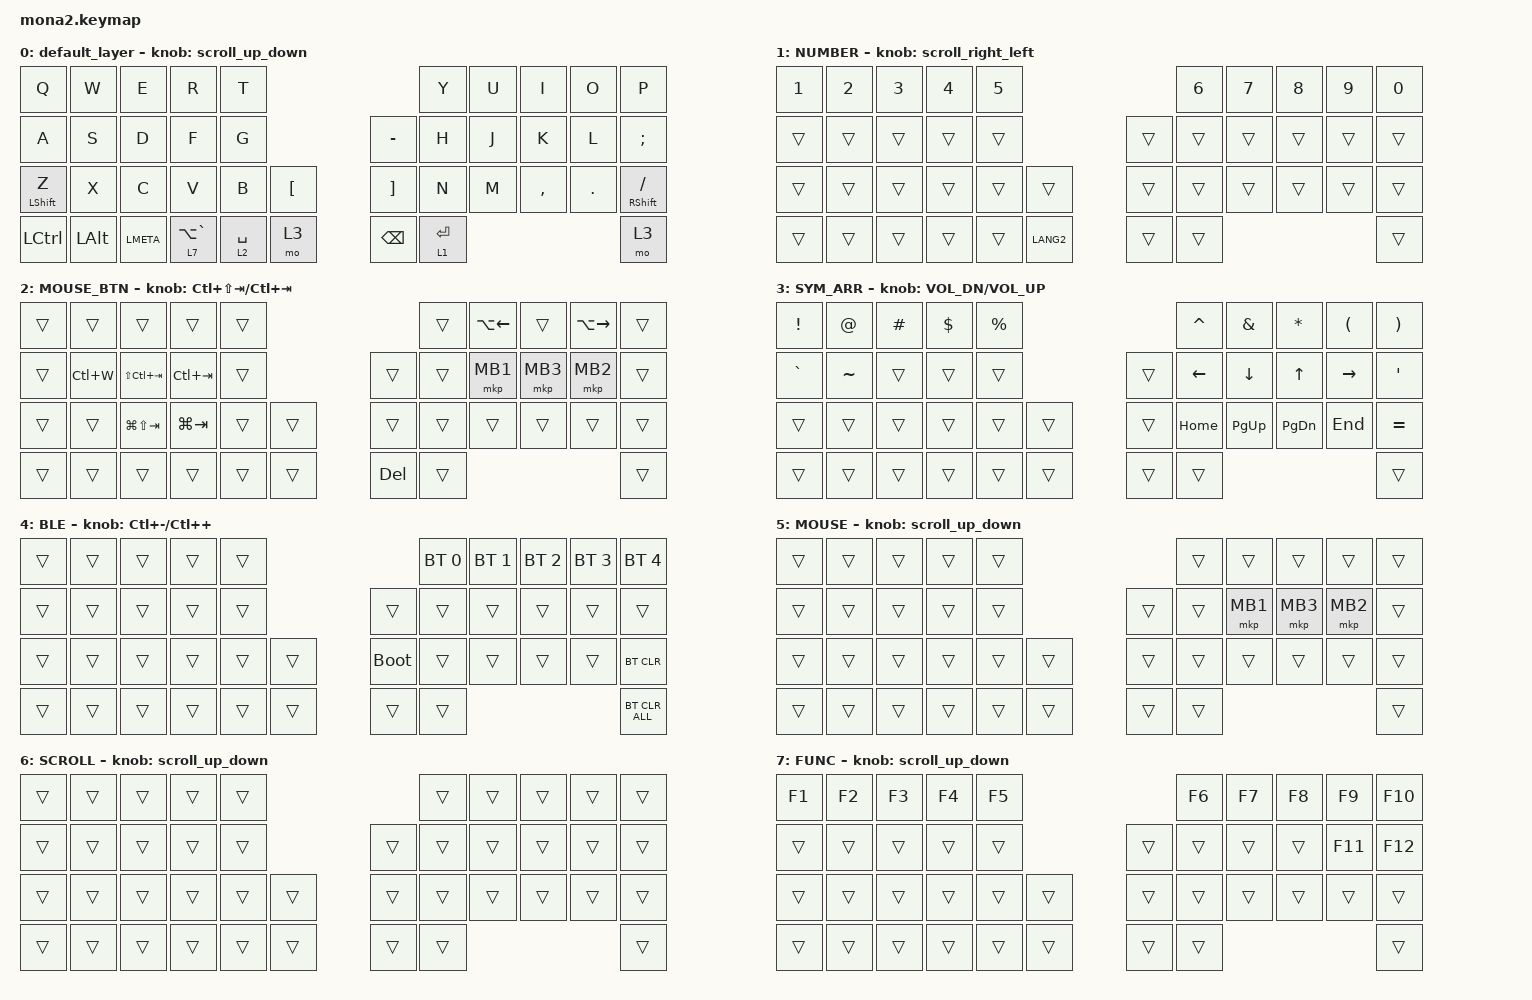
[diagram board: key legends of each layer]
#include <input/processors.dtsi>
#include <dt-bindings/zmk/input_transform.h>
#include <zephyr/dt-bindings/input/input-event-codes.h>
#include <behaviors.dtsi>
#include <dt-bindings/zmk/bt.h>
#include <dt-bindings/zmk/keys.h>
#include <dt-bindings/zmk/pointing.h>

#define ZMK_POINTING_DEFAULT_SCRL_VAL 100
#define MOUSE 5
#define SCROLL 6

&mt {
    flavor = "balanced";
    quick-tap-ms = <0>;
};

&lt {
    quick-tap-ms = <300>;
    flavor = "balanced";
};

&mkp_input_listener { input-processors = <&zip_temp_layer 5 200>; };

/ {
    combos {
        compatible = "zmk,combos";

        BLElayer_ESC {
            bindings = <&lt 4 ESC>;
            key-positions = <39 38>;
        };

        tab {
            bindings = <&kp TAB>;
            key-positions = <11 12>;
        };

        minus {
            bindings = <&kp MINUS>;
            key-positions = <8 9>;
        };

        back_slash {
            bindings = <&kp BACKSLASH>;
            key-positions = <20 19>;
        };

        // grave {
        //     bindings = <&kp GRAVE>;
        //     key-positions = <11 10>;
        // };
    };

    macros {
        to_layer_0: to_layer_0 {
            compatible = "zmk,behavior-macro-one-param";
            #binding-cells = <1>;
            bindings = <&to 0 &macro_param_1to1 &kp MACRO_PLACEHOLDER>;
            label = "TO_LAYER_0";
        };

        exit_AML: exit_AML {
            compatible = "zmk,behavior-macro";
            wait-ms = <0>;
            tap-ms = <0>;
            #binding-cells = <0>;
            bindings = <&tog_off MOUSE>;
            label = "exit_AML";
        };

        kp_exit_AML: kp_exit_AML {
            compatible = "zmk,behavior-macro-one-param";
            wait-ms = <0>;
            tap-ms = <0>;
            #binding-cells = <1>;
            bindings = <&macro_param_1to1 &kp MACRO_PLACEHOLDER &exit_AML>;
            label = "KP_exit_AML";
        };
    };

    behaviors {
        lt_to_layer_0: lt_to_layer_0 {
            compatible = "zmk,behavior-hold-tap";
            label = "LAYER_TAP_TO_0";
            bindings = <&mo>, <&to_layer_0>;

            #binding-cells = <2>;
            tapping-term-ms = <200>;
        };

        scroll_up_down: mouse_wheel_up_down {
            compatible = "zmk,behavior-sensor-rotate";
            #sensor-binding-cells = <0>;
            bindings = <&msc SCRL_DOWN>, <&msc SCRL_UP>;

            tap-ms = <20>;
        };

        scroll_right_left: mouse_wheel_right_left {
            compatible = "zmk,behavior-sensor-rotate";
            #sensor-binding-cells = <0>;
            bindings = <&msc SCRL_LEFT>, <&msc SCRL_RIGHT>;

            tap-ms = <20>;
        };

        tog_off: toggle_layer_off {
            compatible = "zmk,behavior-toggle-layer";
            #binding-cells = <1>;
            display-name = "Toggle Layer Off";
            toggle-mode = "off";
        };

        mt_exit_AML_on_tap: mt_exit_AML_on_tap {
            compatible = "zmk,behavior-hold-tap";
            label = "MT_exit_AML_ON_TAP";
            bindings = <&kp>, <&kp_exit_AML>;

            #binding-cells = <2>;
            tapping-term-ms = <200>;
            flavor = "balanced";
            quick-tap-ms = <200>;
        };
    };

    keymap {
        compatible = "zmk,keymap";

        default_layer {
            bindings = <
&kp Q                             &kp W     &kp E      &kp R                       &kp T                                   &kp Y        &kp U  &kp I      &kp O    &kp P
&kp A                             &kp S     &kp D      &kp F                       &kp G                    &kp MINUS      &kp H        &kp J  &kp K      &kp L    &kp SEMICOLON
&mt_exit_AML_on_tap LEFT_SHIFT Z  &kp X     &kp C      &kp V                       &kp B        &kp LBKT    &kp RBKT       &kp N        &kp M  &kp COMMA  &kp DOT  &mt_exit_AML_on_tap RIGHT_SHIFT SLASH
&kp LCTRL                         &kp LALT  &kp LMETA  &lt_to_layer_0 7 LA(GRAVE)  &lt 2 SPACE  &mo 3       &kp BACKSPACE  &lt 1 ENTER                             &mo 3
            >;

            sensor-bindings = <&scroll_up_down>;
        };

        NUMBER {
            bindings = <
&kp NUMBER_1  &kp NUMBER_2  &kp NUMBER_3  &kp NUMBER_4  &kp NUMBER_5                       &kp NUMBER_6  &kp NUMBER_7  &kp NUMBER_8  &kp NUMBER_9  &kp NUMBER_0
&trans        &trans        &trans        &trans        &trans                     &trans  &trans        &trans        &trans        &trans        &trans
&trans        &trans        &trans        &trans        &trans        &trans       &trans  &trans        &trans        &trans        &trans        &trans
&trans        &trans        &trans        &trans        &trans        &kp LANG2    &trans  &trans                                                  &trans
            >;

            sensor-bindings = <&scroll_right_left>;
        };

        MOUSE_BTN {
            bindings = <
&trans  &trans     &trans           &trans       &trans                     &trans  &kp LA(LEFT_ARROW)  &trans    &kp LA(RIGHT)  &trans
&trans  &kp LC(W)  &kp LS(LC(TAB))  &kp LC(TAB)  &trans            &trans   &trans  &mkp MB1            &mkp MB3  &mkp MB2       &trans
&trans  &trans     &kp LG(LS(TAB))  &kp LG(TAB)  &trans  &trans    &trans   &trans  &trans              &trans    &trans         &trans
&trans  &trans     &trans           &trans       &trans  &trans    &kp DEL  &trans                                               &trans
            >;

            sensor-bindings = <&inc_dec_kp LC(LS(TAB)) LC(TAB)>;
        };

        SYM_ARR {
            bindings = <
&kp EXCL   &kp AT     &kp HASH  &kp DOLLAR  &kp PERCENT                    &kp CARET  &kp AMPERSAND  &kp ASTERISK  &kp LPAR         &kp RPAR
&kp GRAVE  &kp TILDE  &trans    &trans      &trans                 &trans  &kp LEFT   &kp DOWN       &kp UP        &kp RIGHT_ARROW  &kp SINGLE_QUOTE
&trans     &trans     &trans    &trans      &trans       &trans    &trans  &kp HOME   &kp PG_UP      &kp PG_DN     &kp END          &kp EQUAL
&trans     &trans     &trans    &trans      &trans       &trans    &trans  &trans                                                   &trans
            >;

            sensor-bindings = <&inc_dec_kp C_VOL_DN C_VOL_UP>;
        };

        BLE {
            bindings = <
&trans  &trans  &trans  &trans  &trans                         &bt BT_SEL 0  &bt BT_SEL 1  &bt BT_SEL 2  &bt BT_SEL 3  &bt BT_SEL 4
&trans  &trans  &trans  &trans  &trans            &trans       &trans        &trans        &trans        &trans        &trans
&trans  &trans  &trans  &trans  &trans  &trans    &bootloader  &trans        &trans        &trans        &trans        &bt BT_CLR
&trans  &trans  &trans  &trans  &trans  &trans    &trans       &trans                                                  &bt BT_CLR_ALL
            >;

            sensor-bindings = <&inc_dec_kp LC(MINUS) LC(PLUS)>;
        };

        MOUSE {
            bindings = <
&trans  &trans  &trans  &trans  &trans                    &trans  &trans    &trans    &trans    &trans
&trans  &trans  &trans  &trans  &trans            &trans  &trans  &mkp MB1  &mkp MB3  &mkp MB2  &trans
&trans  &trans  &trans  &trans  &trans  &trans    &trans  &trans  &trans    &trans    &trans    &trans
&trans  &trans  &trans  &trans  &trans  &trans    &trans  &trans                                &trans
            >;

            sensor-bindings = <&scroll_up_down>;
        };

        SCROLL {
            bindings = <
&trans  &trans  &trans  &trans  &trans                    &trans  &trans  &trans  &trans  &trans
&trans  &trans  &trans  &trans  &trans            &trans  &trans  &trans  &trans  &trans  &trans
&trans  &trans  &trans  &trans  &trans  &trans    &trans  &trans  &trans  &trans  &trans  &trans
&trans  &trans  &trans  &trans  &trans  &trans    &trans  &trans                          &trans
            >;

            sensor-bindings = <&scroll_up_down>;
        };

        FUNC {
            bindings = <
&kp F1  &kp F2  &kp F3  &kp F4  &kp F5                    &kp F6  &kp F7  &kp F8  &kp F9   &kp F10
&trans  &trans  &trans  &trans  &trans            &trans  &trans  &trans  &trans  &kp F11  &kp F12
&trans  &trans  &trans  &trans  &trans  &trans    &trans  &trans  &trans  &trans  &trans   &trans
&trans  &trans  &trans  &trans  &trans  &trans    &trans  &trans                           &trans
            >;

            sensor-bindings = <&scroll_up_down>;
        };
    };
};
